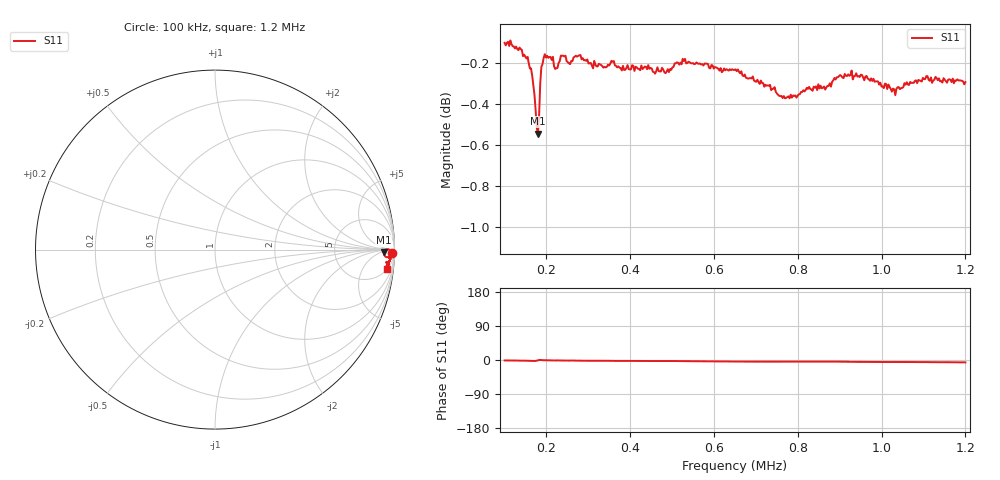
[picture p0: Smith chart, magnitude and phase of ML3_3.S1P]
!Agilent Technologies,E5071C,MY46100265,A.07.02
!Date: Wed Mar 04 14:53:12 2020
!Data & Calibration Information:
!Freq	S11:SOLT1(ON)
# Hz S MA R 50
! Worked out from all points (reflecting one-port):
!   402 points, 100 kHz to 1.2 MHz, reference 50 ohm
!   lowest |S11| = -0.5 dB at 179.6 kHz (marker M1), VSWR 31.99, Z = 1.5e+03 - j392 ohm
!   phase of S11 starts at -1 deg and turns -5 deg over the sweep
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100000  0.9883 -1.2
152120  0.9797 -1.9
160349  0.9742 -2.2
168579  0.965 -2.5
174065  0.9517 -2.4
179551  0.9394 -0.9
185037  0.966 0.1
190524  0.9766 -0.4
193267  0.98 -0.5
215212  0.9806 -1.4
223441  0.9743 -1.3
239900  0.9812 -1.4
264589  0.9802 -1.6
297506  0.9791 -2.0
377057  0.9744 -2.4
486783  0.9724 -2.6
514214  0.9773 -2.8
651372  0.9737 -3.9
728180  0.965 -4.4
758354  0.9592 -4.4
788529  0.9595 -4.2
881796  0.9669 -4.2
925686  0.9706 -4.8
1002494  0.9645 -5.4
1029925  0.9629 -5.3
1062843  0.9654 -5.2
1103990  0.9685 -5.7
1200000  0.9668 -6.3
